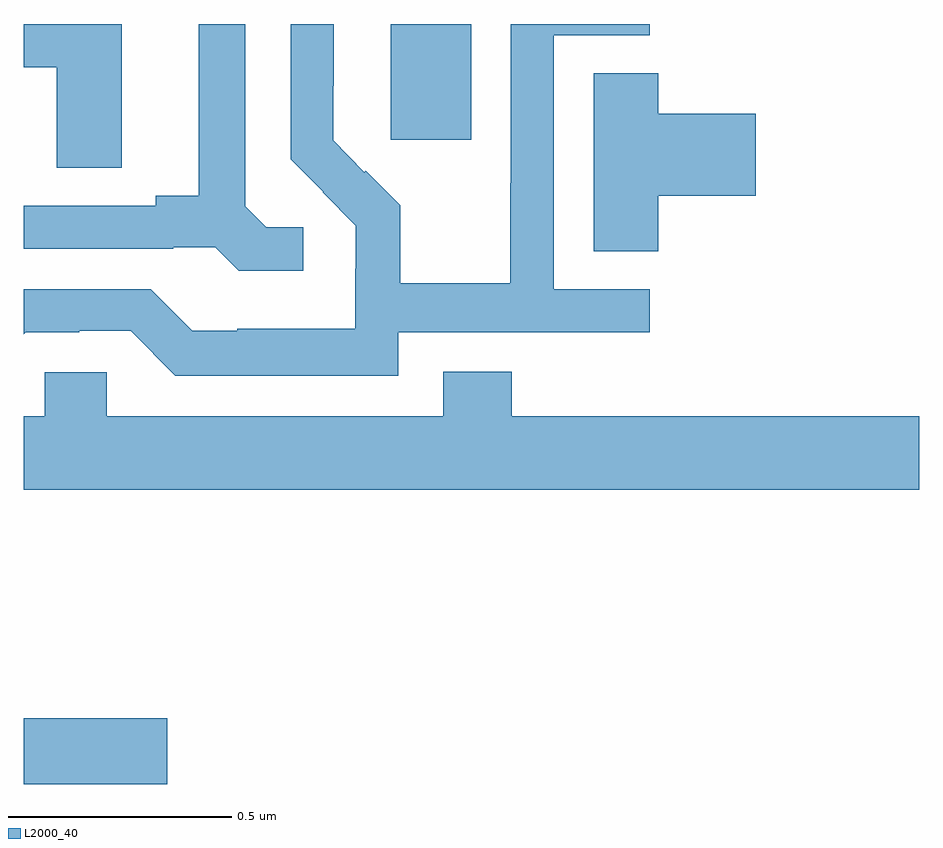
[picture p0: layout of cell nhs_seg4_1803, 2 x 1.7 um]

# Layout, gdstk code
import gdstk
lib = gdstk.Library(unit=1e-6, precision=1e-09)
def R(c, l, rs):  # rectangles x0, y0, x1, y1
    for r in rs: c.add(gdstk.rectangle(r[:2], r[2:], *l))
def P(c, l, *ps):  # polygons
    for p in ps: c.add(gdstk.Polygon(p, *l))
L2000_40 = (2000, 40)

nhs_seg4_1803 = lib.new_cell('nhs_seg4_1803')
R(nhs_seg4_1803, L2000_40, [(133,756.203,133.321,756.35), (133.82,757.641,133.999,757.9)])
P(nhs_seg4_1803, L2000_40, [(133.836,757.212),(134.398,757.212),(134.398,757.308),(134.184,757.308),(134.184,757.875),(134.398,757.875),(134.398,757.9),(134.088,757.9),(134.088,757.544),(134.086,757.544),(134.086,757.321),(133.841,757.321),(133.841,757.495),(133.764,757.572),(133.761,757.569),(133.691,757.64),(133.691,757.762),(133.692,757.762),(133.692,757.9),(133.596,757.9),(133.596,757.598),(133.669,757.525),(133.668,757.524),(133.742,757.45),(133.742,757.353),(133.74,757.353),(133.74,757.219),(133.477,757.219),(133.477,757.215),(133.377,757.215),(133.284,757.308),(133,757.308),(133,757.207),(133.005,757.212),(133.124,757.212),(133.124,757.215),(133.239,757.215),(133.339,757.115),(133.836,757.115)],
  [(133.624,757.446),(133.542,757.446),(133.495,757.493),(133.495,757.9),(133.391,757.9),(133.391,757.517),(133.295,757.517),(133.295,757.494),(133,757.494),(133,757.398),(133.334,757.398),(133.334,757.401),(133.428,757.401),(133.48,757.349),(133.624,757.349)],
  [(133.219,757.899),(133,757.899),(133,757.803),(133.074,757.803),(133.074,757.579),(133.219,757.579)],
  [(134.417,757.517),(134.635,757.517),(134.635,757.7),(134.417,757.7),(134.417,757.79),(134.273,757.79),(134.273,757.393),(134.417,757.393)],
  [(135,757.024),(134.09,757.024),(134.09,757.123),(133.937,757.123),(133.937,757.024),(133.185,757.024),(133.185,757.122),(133.047,757.122),(133.047,757.024),(133,757.024),(133,756.86),(135,756.86)])

lib.write_gds('nhs_seg4_1803.gds')
